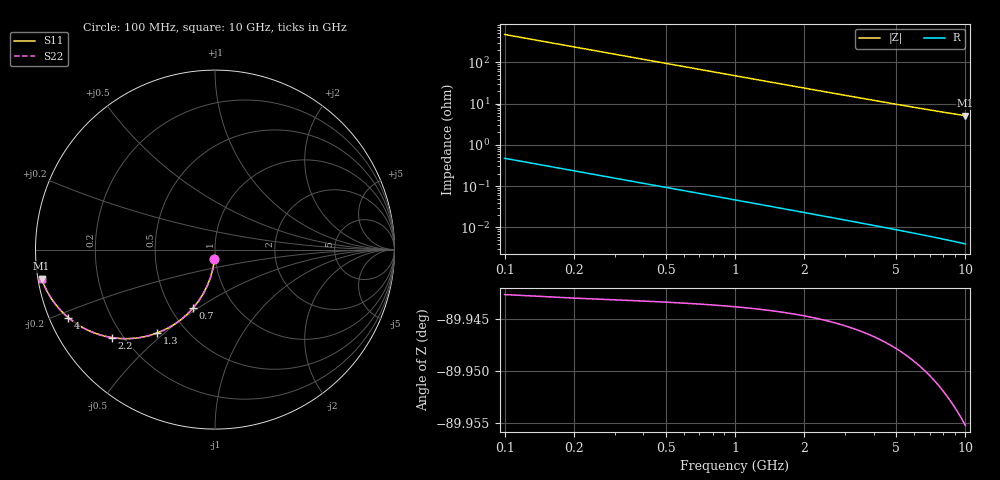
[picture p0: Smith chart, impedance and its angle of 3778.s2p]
# Hz S RI R 50.00
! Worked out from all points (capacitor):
!   100 points, 100 MHz to 10 GHz, reference 50 ohm
!   read as one part in shunt: C = 3.37 pF near 100 MHz
!   lowest |Z| = 5.09 ohm at 10 GHz (marker M1)
!   S11 on the Smith chart (normalised r, x): 100 MHz: 0.99, -0.10; 700 MHz: 0.65, -0.48; 1.3 GHz: 0.35, -0.47; 2.2 GHz: 0.16, -0.36; 4 GHz: 0.05, -0.22; 10 GHz: 0.01, -0.08
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1e8  -0.00281 -0.0526  0.9971 -0.053  0.9971 -0.053  -0.00281 -0.0526
2e8  -0.0112 -0.1044  0.9888 -0.105  0.9888 -0.105  -0.0112 -0.1044
3e8  -0.0247 -0.1544  0.9752 -0.1554  0.9752 -0.1554  -0.0247 -0.1544
4e8  -0.0431 -0.2019  0.9569 -0.2033  0.9569 -0.2033  -0.0431 -0.2019
5e8  -0.0656 -0.2464  0.9343 -0.2481  0.9343 -0.2481  -0.0656 -0.2464
6e8  -0.0918 -0.2873  0.9081 -0.2893  0.9081 -0.2893  -0.0918 -0.2873
7e8  -0.1209 -0.3244  0.879 -0.3267  0.879 -0.3267  -0.1209 -0.3244
8e8  -0.1522 -0.3574  0.8477 -0.3601  0.8477 -0.3601  -0.1522 -0.3574
1e9  -0.219 -0.4114  0.781 -0.4148  0.781 -0.4148  -0.219 -0.4114
1.3e9  -0.3213 -0.4643  0.6786 -0.4687  0.6786 -0.4687  -0.3213 -0.4643
1.5e9  -0.3865 -0.4839  0.6134 -0.489  0.6134 -0.489  -0.3865 -0.4839
1.8e9  -0.4755 -0.4959  0.5244 -0.5019  0.5244 -0.5019  -0.4755 -0.4959
2.2e9  -0.5751 -0.4901  0.4248 -0.4976  0.4248 -0.4976  -0.5751 -0.4901
2.5e9  -0.6359 -0.4764  0.3639 -0.4849  0.3639 -0.4849  -0.6359 -0.4764
2.8e9  -0.6866 -0.4586  0.3133 -0.4681  0.3133 -0.4681  -0.6866 -0.4586
3.4e9  -0.7636 -0.4185  0.2363 -0.4302  0.2363 -0.4302  -0.7636 -0.4185
4e9  -0.8172 -0.379  0.1826 -0.3928  0.1826 -0.3928  -0.8172 -0.379
4.5e9  -0.8499 -0.3488  0.1499 -0.3644  0.1499 -0.3644  -0.8499 -0.3488
5.1e9  -0.8792 -0.3164  0.1206 -0.3341  0.1206 -0.3341  -0.8792 -0.3164
6.7e9  -0.9266 -0.2483  0.0731 -0.2718  0.0731 -0.2718  -0.9266 -0.2483
8.4e9  -0.9523 -0.197  0.0471 -0.2269  0.0471 -0.2269  -0.9523 -0.197
1e10  -0.9662 -0.1612  0.0331 -0.1973  0.0331 -0.1973  -0.9662 -0.1612
